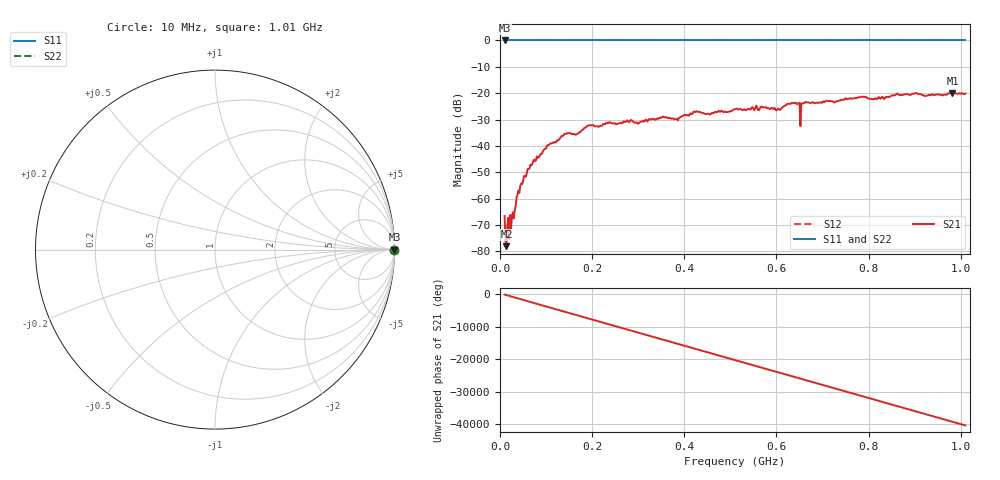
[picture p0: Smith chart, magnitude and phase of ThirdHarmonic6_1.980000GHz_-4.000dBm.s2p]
! 8/16/2025 11:48:26 PM
! C:\ANRITSUVNA\TEMP\TEMP.S2P
! CHANNEL.1
! TR.MEASUREMENT
! RAW.DATA
! RF.CORRECTION.OFF
! AVERAGING.OFF
! IF.BANDWIDTH: 5KHZ
! SWEEPTYPE:  FREQ.SWEEP(Linear)
! Reference Plane Port Info
! PORT:  PORT1  PORT2
! DISTANCE:  0  m  0  m
! TIME:  0  s  0  s
! PHASE.OFFSET:  0  deg.  0  deg.
! LOSS:  0  dB  0  dB
! REF.LOSS:  0  dB  0  dB
! REF.FREQ:  0  Hz  0  Hz
! Power Info
! POWER:  -20  dBm  -20  dBm
! EFF.POWER:  -20  dBm  -20  dBm
! SOURCE.ATTEN:  0  dB  0  dB
! TEST.ATTEN:  0  dB  0  dB
# GHZ S RI R 50.0
! FREQ.GHZ  S11RE  S11IM  S21RE  S21IM  S12RE  S12IM  S22RE  S22IM
!; PortSelection: Port_12
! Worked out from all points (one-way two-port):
!   501 points, 10 MHz to 1.01 GHz, reference 50 ohm
!   highest |S21| = -19.89 dB at 982 MHz (marker M1); lowest = -78.1 dB at 14 MHz (marker M2)
!   lowest |S11| = 0.0 dB at 10 MHz (marker M3)
!   |S11| at or under -10 dB: nowhere
!   |S22| runs from 0.0 to 0.0 dB; largest |S21 - S12| = 1.1
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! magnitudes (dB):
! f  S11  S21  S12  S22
! 10 MHz  0.0  -66.6  0.0  0.0
! 14 MHz  0.0  -78.1  0.0  0.0
! 16 MHz  0.0  -70.5  0.0  0.0
! 28 MHz  0.0  -65.2  0.0  0.0
! 42 MHz  0.0  -57.8  0.0  0.0
! 70 MHz  0.0  -47.0  0.0  0.0
! 106 MHz  0.0  -39.7  0.0  0.0
! 142 MHz  0.0  -35.4  0.0  0.0
! 178 MHz  0.0  -34.0  0.0  0.0
! 194 MHz  0.0  -32.1  0.0  0.0
! 344 MHz  0.0  -29.8  0.0  0.0
! 382 MHz  0.0  -29.9  0.0  0.0
! 424 MHz  0.0  -27.1  0.0  0.0
! 510 MHz  0.0  -26.1  0.0  0.0
! 604 MHz  0.0  -25.9  0.0  0.0
! 638 MHz  0.0  -23.6  0.0  0.0
! 656 MHz  0.0  -23.8  0.0  0.0
! 658 MHz  0.0  -23.9  0.0  0.0
! 678 MHz  0.0  -23.5  0.0  0.0
! 844 MHz  0.0  -21.4  0.0  0.0
! 982 MHz  0.0  -19.9  0.0  0.0
! 1.01 GHz  0.0  -20.2  0.0  0.0
